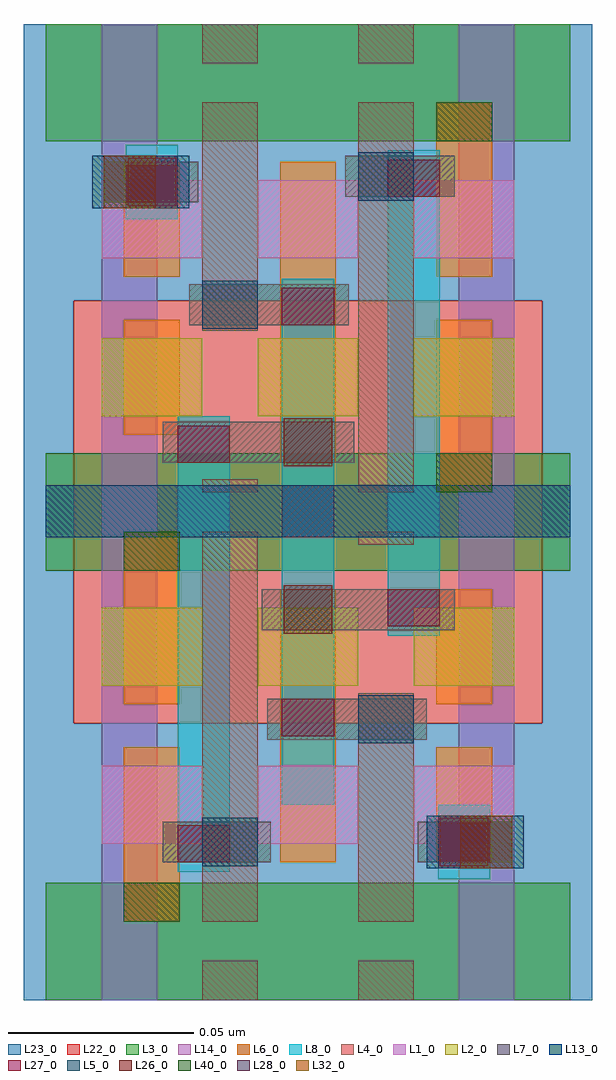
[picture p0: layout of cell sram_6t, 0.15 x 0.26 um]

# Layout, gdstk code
import gdstk
lib = gdstk.Library(unit=1e-6, precision=2.5e-10)
def R(c, l, rs):  # rectangles x0, y0, x1, y1
    for r in rs: c.add(gdstk.rectangle(r[:2], r[2:], *l))
def A(c, l, x, y, w, h, nx, ny, dx, dy):  # array of equal rectangles
    R(c, l, [(x+i*dx, y+j*dy, x+i*dx+w, y+j*dy+h) for i in range(nx) for j in range(ny)])
def P(c, l, *ps):  # polygons
    for p in ps: c.add(gdstk.Polygon(p, *l))
L1_0 = (1, 0)
L2_0 = (2, 0)
L3_0 = (3, 0)
L4_0 = (4, 0)
L5_0 = (5, 0)
L6_0 = (6, 0)
L7_0 = (7, 0)
L8_0 = (8, 0)
L13_0 = (13, 0)
L14_0 = (14, 0)
L22_0 = (22, 0)
L23_0 = (23, 0)
L26_0 = (26, 0)
L27_0 = (27, 0)
L28_0 = (28, 0)
L32_0 = (32, 0)
L40_0 = (40, 0)

sram_6t = lib.new_cell('sram_6t')
A(sram_6t, L1_0, 0.015, 0.042, 0.027, 0.021, 3, 2, 0.042, 0.1575)
A(sram_6t, L2_0, 0.015, 0.0845, 0.027, 0.021, 3, 2, 0.042, 0.0725)
A(sram_6t, L3_0, 0, 0, 0.141, 0.0315, 1, 3, 0, 0.1155)
R(sram_6t, L4_0, [(0.042,0,0.057,0.0105), (0.084,0,0.099,0.0105), (0.042,0.021,0.057,0.126), (0.084,0.021,0.099,0.0825), (0.084,0.1225,0.099,0.126), (0.042,0.1365,0.057,0.14), (0.084,0.1365,0.099,0.2415), (0.042,0.18,0.057,0.2415), (0.042,0.252,0.057,0.2625), (0.084,0.252,0.099,0.2625)])
R(sram_6t, L5_0, [(0.042,0.036,0.057,0.049), (0.084,0.069,0.099,0.082), (0.042,0.1805,0.057,0.1935), (0.084,0.215,0.099,0.228)])
R(sram_6t, L6_0, [(0.021,0.021,0.036,0.068), (0.063,0.037,0.078,0.1105), (0.105,0.037,0.12,0.068), (0.021,0.0795,0.036,0.126), (0.105,0.0795,0.12,0.1105), (0.105,0.1365,0.12,0.183), (0.063,0.1445,0.078,0.2255), (0.021,0.152,0.036,0.183), (0.021,0.1945,0.036,0.2255), (0.105,0.1945,0.12,0.2415)])
R(sram_6t, L7_0, [(0.0315,0.037,0.0605,0.048), (0.1,0.037,0.125,0.048), (0.0595,0.07,0.1025,0.081), (0.058,0.0995,0.11,0.1105), (0.0315,0.1445,0.083,0.1555), (0.0385,0.1815,0.0815,0.1925), (0.016,0.2145,0.041,0.2255), (0.0805,0.216,0.11,0.227)])
R(sram_6t, L8_0, [(0.1055,0.0325,0.1195,0.0525), (0.0355,0.0345,0.0495,0.157), (0.0635,0.0525,0.0775,0.194), (0.092,0.098,0.106,0.2285), (0.0215,0.21,0.0355,0.23)])
R(sram_6t, L13_0, [(0.1025,0.0355,0.1285,0.0495), (0,0.1245,0.141,0.1385), (0.0125,0.213,0.0385,0.227)])
R(sram_6t, L14_0, [(0.015,0,0.03,0.2625), (0.111,0,0.126,0.2625)])
R(sram_6t, L22_0, [(0.0075,0.0745,0.1335,0.188)])
P(sram_6t, L23_0, [(0.147,0.2625),(0.147,0.188),(0.0075,0.188),(0.0075,0.0745),(0.1335,0.0745),(0.1335,0.188),(0.147,0.188),(0.147,0),(-0.006,0),(-0.006,0.2625)])
R(sram_6t, L26_0, [(0.106,0.036,0.119,0.049), (0.064,0.0985,0.077,0.1115), (0.064,0.1435,0.077,0.1565), (0.022,0.2135,0.035,0.2265)])
R(sram_6t, L27_0, [(0.0355,0.037,0.0495,0.047), (0.1055,0.0375,0.1195,0.0475), (0.0635,0.071,0.0775,0.081), (0.092,0.1005,0.106,0.1105), (0.0355,0.1445,0.0495,0.1545), (0.0635,0.1815,0.0775,0.1915), (0.0215,0.2145,0.0355,0.2245), (0.092,0.216,0.106,0.226)])
R(sram_6t, L28_0, [(0.1055,0.0355,0.1195,0.0495), (0.0635,0.1245,0.0775,0.1385), (0.0215,0.213,0.0355,0.227)])
R(sram_6t, L32_0, [(0.1115,0.0355,0.1255,0.0495), (0.0155,0.213,0.0295,0.227)])
R(sram_6t, L40_0, [(0.021,0.021,0.036,0.0315), (0.021,0.1155,0.036,0.126), (0.105,0.1365,0.12,0.147), (0.105,0.231,0.12,0.2415)])

lib.write_gds('sram_6t.gds')
